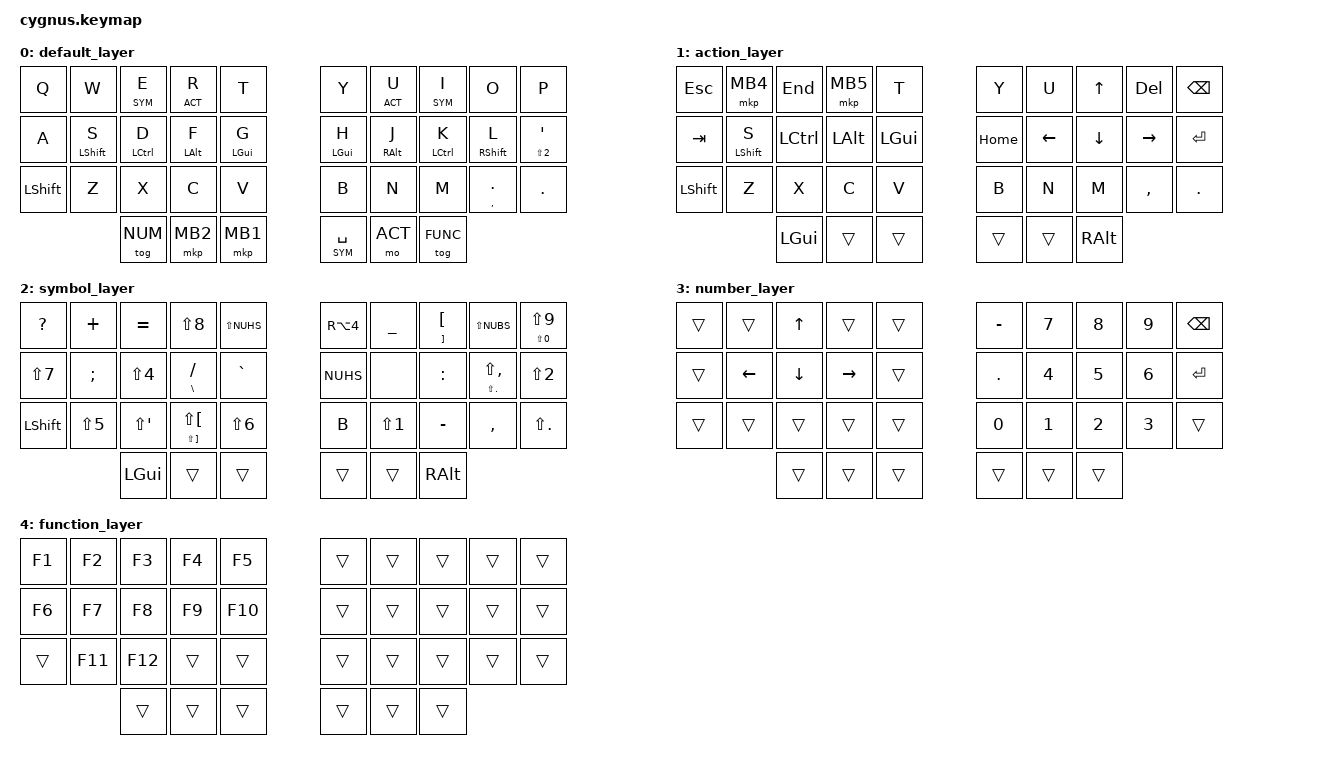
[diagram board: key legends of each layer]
/*
 * Copyright (c) 2020 The ZMK Contributors
 *
 * SPDX-License-Identifier: MIT
 */

#include <behaviors.dtsi>
#include <dt-bindings/zmk/keys.h>
#include <dt-bindings/zmk/bt.h>
#include <dt-bindings/zmk/mouse.h>

#define DEFAULT 0
#define ACT 1
#define SYM 2
#define NUM 3
#define FUNC 4

/ {
        behaviors {
            hm: homerow_mods {
                compatible = "zmk,behavior-hold-tap";
                #binding-cells = <2>;
                tapping-term-ms = <200>;
                flavor = "balanced";
                bindings = <&kp>, <&kp>;
            };
        };
        

        keymap {
                compatible = "zmk,keymap";

                default_layer {
                        bindings = <
        &kp Q           &kp W           &lt SYM E       &lt ACT R   &kp T                   &kp Y           &lt ACT U   &lt SYM I   &kp O           &kp P   
        &kp A           &hm LSHIFT S    &hm LCTRL D     &hm LALT F  &hm LGUI G              &hm LGUI H      &hm RALT J  &hm LCTRL K &hm RSHIFT L    &hm LS(N2) SQT
        &kp LSHFT       &kp Z           &kp X           &kp C       &kp V                   &kp B           &kp N       &kp M       &mt COMMA DOT   &kp DOT
                                        &tog NUM        &mkp MB2    &mkp MB1                &lt SYM SPACE   &mo ACT     &tog FUNC
                        >;
                };
                action_layer {
                        bindings = <
        &kp ESC         &mkp MB4        &kp END         &mkp MB5        &kp T               &kp Y       &kp U       &kp UP      &kp DEL         &kp BSPC   
        &kp TAB         &mt LSHIFT S    &kp LCTRL       &kp LALT        &kp LGUI            &kp HOME    &kp LEFT    &kp DOWN    &kp RIGHT       &kp RET
        &kp LSHFT       &kp Z           &kp X           &kp C           &kp V               &kp B       &kp N       &kp M       &kp COMMA       &kp DOT
                                        &kp LGUI        &trans          &trans              &trans      &trans      &kp RALT
                        >;
                };

                symbol_layer {
                        bindings = <
        &kp QMARK       &kp PLUS    &kp EQUAL   &kp LS(N8)              &kp LS(NUHS)        &kp RA(N4)  &kp UNDER   &mt RBKT LBKT   &kp LS(NUBS)            &mt LS(N0) LS(N9)
        &kp LS(N7)      &kp SEMI    &kp LS(N4)  &mt BSLH FSLH           &kp GRAVE           &kp NUHS    &none       &kp COLON       &mt LS(DOT) LS(COMMA)   &kp LS(N2)
        &kp LSHFT       &kp LS(N5)  &kp LS(SQT) &mt LS(RBKT) LS(LBKT)   &kp LS(N6)          &kp B       &kp LS(N1)  &kp MINUS       &kp COMMA               &kp LS(DOT)
                                    &kp LGUI    &trans                  &trans              &trans      &trans      &kp RALT
                        >;
                };

                number_layer {
                        bindings = <
        &trans          &trans          &kp UP          &trans          &trans              &kp MINUS       &kp N7          &kp N8      &kp N9             &kp BSPC
        &trans          &kp LEFT        &kp DOWN        &kp RIGHT       &trans              &kp DOT         &kp N4          &kp N5      &kp N6             &kp RET
        &trans          &trans          &trans          &trans          &trans              &kp N0          &kp N1          &kp N2      &kp N3             &trans
                                        &trans          &trans          &trans              &trans          &trans          &trans
                        >;
                };

                function_layer {
                        bindings = <
        &kp F1          &kp F2          &kp F3          &kp F4          &kp F5              &trans          &trans          &trans          &trans          &trans
        &kp F6          &kp F7          &kp F8          &kp F9          &kp F10             &trans          &trans          &trans          &trans          &trans
        &trans          &kp F11         &kp F12         &trans          &trans              &trans          &trans          &trans          &trans          &trans
                                        &trans          &trans          &trans              &trans          &trans          &trans
                        >;
                };
        };
};
